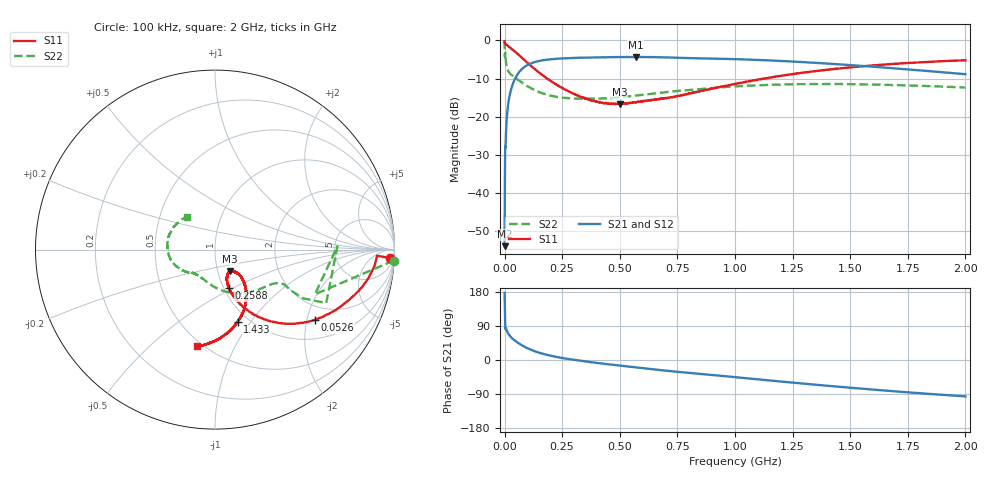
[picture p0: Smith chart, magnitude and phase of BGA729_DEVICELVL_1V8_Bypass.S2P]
!Agilent Technologies,E5071C,MY46105553,A.09.30
!Date: Fri Apr 03 07:20:48 2015
!Data & Calibration Information:
!Freq	S11:SOLT2(ON)	S21:SOLT2(ON)	S12:SOLT2(ON)	S22:SOLT2(ON)
# Hz S dB R 50
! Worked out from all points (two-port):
!   1601 points, 100 kHz to 2 GHz, reference 50 ohm
!   highest |S21| = -4.35 dB at 570.1 MHz (marker M1); lowest = -53.9 dB at 100 kHz (marker M2)
!   |S21| within 3 dB of the highest: 78.06 MHz to 1.696 GHz (1.618 GHz wide, 182 % of centre); 1.696455 GHz to 1.699265 GHz (2.81 MHz wide, 0.165 % of centre)
!   lowest |S11| = -16.7 dB at 498.8 MHz (marker M3), VSWR 1.34, Z = 57.4 - j13.9 ohm
!   |S11| at or under -10 dB: 185.1 MHz to 1.127 GHz (942.2 MHz wide, 144 % of centre)
!   |S22| runs from -15.3 to 0.0 dB; largest |S21 - S12| = 0.0023
!   S11 on the Smith chart (normalised r, x): 100 kHz: 17, -32; 52.6 MHz: 1.54, -2.25; 258.8 MHz: 1.06, -0.48; 1.433 GHz: 0.88, -0.87; 2 GHz: 0.47, -0.72
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100000  -0.22 -2.8  -53.89 177.1  -65.74 80.3  -0.02 -3.5
5099750  -0.98 -5.7  -25.64 84.2  -25.83 84.1  -5.04 -29.0
1.134944e7  -1.25 -11.0  -19.03 75.4  -19.04 75.4  -7.45 -26.9
1.259938e7  -1.31 -12.0  -18.25 73.4  -18.28 73.5  -7.65 -27.3
1.884906e7  -1.63 -16.5  -15.42 66.7  -15.47 66.9  -8.32 -29.3
2.634869e7  -2.03 -21.2  -13.28 61.2  -13.31 61.3  -8.84 -33.1
3.759812e7  -2.57 -27.5  -11.12 54.7  -11.15 54.9  -9.41 -39.5
5.259738e7  -3.33 -35.0  -9.24 47.8  -9.26 47.9  -10.10 -48.4
9.134544e7  -5.44 -49.5  -6.75 33.3  -6.76 33.5  -11.70 -68.5
1.338433e8  -7.68 -59.5  -5.63 22.5  -5.64 22.6  -13.12 -84.7
1.875906e8  -10.08 -66.6  -5.04 13.0  -5.04 13.1  -14.26 -98.9
2.588371e8  -12.80 -70.0  -4.70 4.4  -4.70 4.5  -15.06 -111.5
3.338333e8  -14.85 -68.3  -4.55 -2.6  -4.54 -2.4  -15.27 -120.5
4.250788e8  -16.35 -61.8  -4.43 -9.5  -4.42 -9.4  -15.18 -128.5
4.988251e8  -16.73 -54.8  -4.37 -14.7  -4.37 -14.6  -14.92 -133.4
5.700715e8  -16.29 -50.1  -4.35 -19.5  -4.36 -19.4  -14.44 -137.4
6.675666e8  -15.46 -48.2  -4.41 -26.0  -4.41 -26.0  -13.77 -143.2
1.00005e9  -11.42 -50.8  -4.91 -45.3  -4.92 -45.2  -12.05 -165.1
1.333783e9  -8.18 -67.5  -5.83 -64.3  -5.82 -64.4  -11.46 172.3
1.432528e9  -7.45 -72.7  -6.21 -69.7  -6.20 -69.7  -11.42 165.8
1.667517e9  -6.25 -85.2  -7.22 -81.5  -7.20 -81.4  -11.66 150.9
2e9  -5.23 -100.5  -8.85 -96.0  -8.84 -96.1  -12.35 130.2
